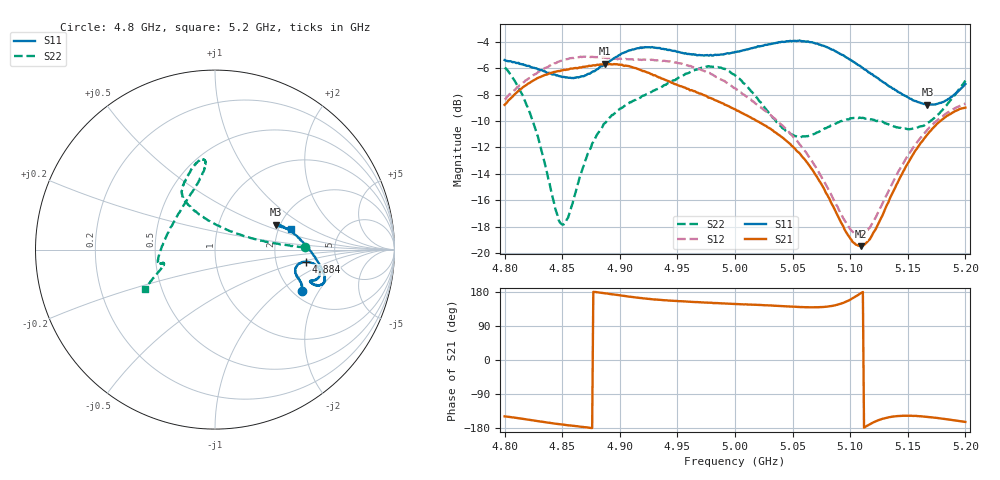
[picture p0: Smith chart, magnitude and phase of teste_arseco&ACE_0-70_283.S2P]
! Network Analyzer HP8722D
! Hewlett-Packard
! Data name: Linha & Wilkinson
! Saver's name: Rodrigo Anjos
! Comments: Teste da utilização de aquisição
! continua pelo VNA HP8722D
! Time and date: 8/5/2025 15:07
!  Frequency  S11  S21  S12  S22
# HZ  S  MA R 50
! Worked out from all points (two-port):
!   401 points, 4.8 GHz to 5.2 GHz, reference 50 ohm
!   highest |S21| = -5.67 dB at 4.887 GHz (marker M1); lowest = -19.5 dB at 5.109 GHz (marker M2)
!   |S21| within 3 dB of the highest: 4.801 GHz to 4.989 GHz (188.2 MHz wide, 3.84 % of centre)
!   lowest |S11| = -8.8 dB at 5.167 GHz (marker M3), VSWR 2.15, Z = 94.6 + j30.2 ohm
!   |S11| at or under -10 dB: nowhere
!   |S22| runs from -17.8 to -5.9 dB; largest |S21 - S12| = 1.1
!   S11 on the Smith chart (normalised r, x): 4.8 GHz: 2.24, -1.45; 4.884 GHz: 2.97, -0.55; 5.2 GHz: 2.33, +0.65
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4.8e9  0.5371 -25.3  0.3639 -148.7  0.3817 10.7  0.5019 1.4
4.812e9  0.5245 -22.2  0.4109 -153.6  0.4272 8.8  0.4234 2.7
4.823e9  0.5049 -20.4  0.4447 -158.6  0.4629 7.4  0.3292 6.3
4.849e9  0.4655 -16.0  0.4907 -169.8  0.5335 3.3  0.1294 58.9
4.855e9  0.4611 -14.3  0.4949 -172.3  0.5422 2.2  0.1361 85.0
4.867e9  0.4666 -11.0  0.5042 -176.5  0.5512 0.7  0.2042 112.2
4.884e9  0.5107 -7.7  0.5172 177.3  0.5483 -0.8  0.2959 120.9
4.887e9  0.5186 -7.6  0.5205 176.1  0.5484 -0.8  0.3103 121.6
4.909e9  0.5849 -10.0  0.5077 167.0  0.5407 -0.3  0.3729 119.9
4.934e9  0.5969 -15.4  0.4616 158.8  0.5373 -1.2  0.4202 112.9
4.975e9  0.5602 -18.6  0.3933 151.5  0.4834 -5.0  0.5071 99.5
5e9  0.5766 -19.3  0.3505 147.7  0.421 -5.1  0.4705 96.6
5.019e9  0.6028 -19.5  0.3165 145.5  0.3654 -2.6  0.3869 103.8
5.044e9  0.6308 -17.4  0.2675 141.7  0.2953 3.1  0.2902 131.3
5.067e9  0.6271 -13.3  0.2073 139.1  0.2224 9.5  0.2812 164.6
5.098e9  0.5458 -2.7  0.1173 156.2  0.1272 37.2  0.3208 -170.5
5.109e9  0.509 2.5  0.1064 175.7  0.1172 58.7  0.3252 -167.3
5.119e9  0.4756 7.5  0.117 -166.3  0.1294 78.1  0.3206 -166.1
5.134e9  0.4266 14.6  0.1594 -150.8  0.1745 94.9  0.3056 -165.7
5.167e9  0.3645 22.3  0.2809 -150.2  0.293 102.6  0.3114 -161.4
5.182e9  0.3757 20.5  0.326 -155.6  0.3342 102.8  0.3559 -157.1
5.2e9  0.4361 14.9  0.3551 -163.4  0.3687 103.0  0.4491 -150.6
